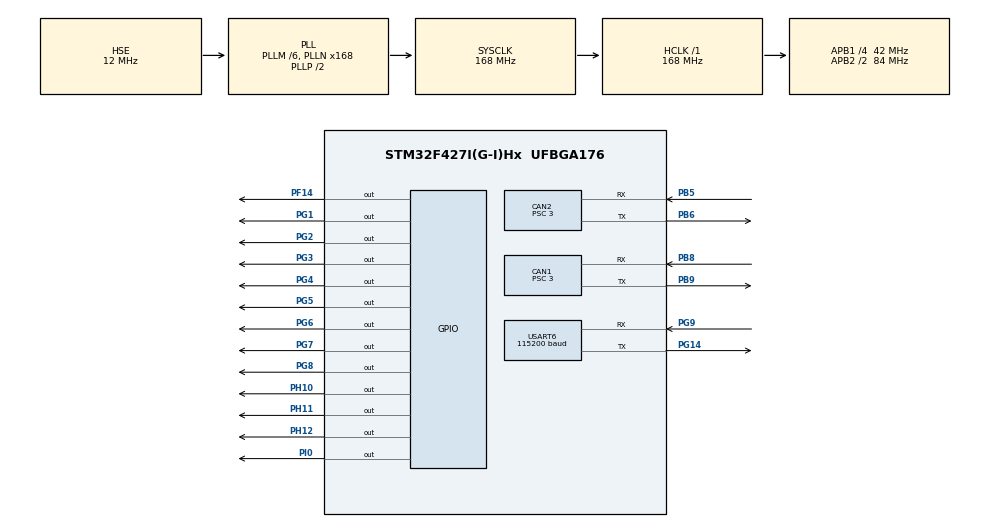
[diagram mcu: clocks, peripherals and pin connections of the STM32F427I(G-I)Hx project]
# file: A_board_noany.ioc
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CAN1.ABOM=DISABLE
CAN1.AWUM=ENABLE
CAN1.BS1=CAN_BS1_9TQ
CAN1.BS2=CAN_BS2_4TQ
CAN1.CalculateBaudRate=1000000
CAN1.CalculateTimeBit=1000
CAN1.CalculateTimeQuantum=71.42857142857143
CAN1.Mode=CAN_MODE_LOOPBACK
CAN1.NART=ENABLE
CAN1.Prescaler=3
CAN1.SJW=CAN_SJW_2TQ
CAN2.BS1=CAN_BS1_9TQ
CAN2.BS2=CAN_BS2_4TQ
CAN2.CalculateBaudRate=1000000
CAN2.CalculateTimeBit=1000
CAN2.CalculateTimeQuantum=71.42857142857143
CAN2.Prescaler=3
CAN2.SJW=CAN_SJW_2TQ
Dma.Request0=USART6_RX
Dma.USART6_RX.0.Direction=DMA_PERIPH_TO_MEMORY
Dma.USART6_RX.0.FIFOMode=DMA_FIFOMODE_DISABLE
Dma.USART6_RX.0.Instance=DMA2_Stream1
Dma.USART6_RX.0.MemDataAlignment=DMA_MDATAALIGN_BYTE
Dma.USART6_RX.0.MemInc=DMA_MINC_ENABLE
Dma.USART6_RX.0.Mode=DMA_NORMAL
Dma.USART6_RX.0.PeriphDataAlignment=DMA_PDATAALIGN_BYTE
Dma.USART6_RX.0.PeriphInc=DMA_PINC_DISABLE
Dma.USART6_RX.0.Priority=DMA_PRIORITY_LOW
Mcu.Family=STM32F4
Mcu.Name=STM32F427I(G-I)Hx
Mcu.Package=UFBGA176
NVIC.CAN1_RX0_IRQn=true\:0\:0\:false\:false\:true\:true\:true\:true
NVIC.CAN1_RX1_IRQn=true\:0\:0\:false\:false\:true\:true\:true\:true
NVIC.DMA2_Stream1_IRQn=true\:0\:0\:false\:false\:true\:false\:true\:true
NVIC.PriorityGroup=NVIC_PRIORITYGROUP_4
PB5.Mode=CAN_Activate
PB5.Signal=CAN2_RX
PB6.Mode=CAN_Activate
PB6.Signal=CAN2_TX
PB8.Mode=CAN_Activate
PB8.Signal=CAN1_RX
PB9.Mode=CAN_Activate
PB9.Signal=CAN1_TX
PF14.Signal=GPIO_Output
PG1.Signal=GPIO_Output
PG14.Mode=Asynchronous
PG14.Signal=USART6_TX
PG2.Signal=GPIO_Output
PG3.Signal=GPIO_Output
PG4.Signal=GPIO_Output
PG5.Signal=GPIO_Output
PG6.Signal=GPIO_Output
PG7.Signal=GPIO_Output
PG8.Signal=GPIO_Output
PG9.Mode=Asynchronous
PG9.Signal=USART6_RX
PH0/OSC_IN.Mode=HSE-External-Oscillator
PH0/OSC_IN.Signal=RCC_OSC_IN
PH1/OSC_OUT.Mode=HSE-External-Oscillator
PH1/OSC_OUT.Signal=RCC_OSC_OUT
PH10.Signal=GPIO_Output
PH11.Signal=GPIO_Output
PH12.PinState=GPIO_PIN_SET
PH12.Signal=GPIO_Output
PI0.PinState=GPIO_PIN_SET
PI0.Signal=GPIO_Output
ProjectManager.HeapSize=0x200
ProjectManager.StackSize=0x400
ProjectManager.TargetToolchain=CMake
RCC.48MHZClocksFreq_Value=84000000
RCC.AHBFreq_Value=168000000
RCC.APB1CLKDivider=RCC_HCLK_DIV4
RCC.APB1Freq_Value=42000000
RCC.APB1TimFreq_Value=84000000
RCC.APB2CLKDivider=RCC_HCLK_DIV2
RCC.APB2Freq_Value=84000000
RCC.APB2TimFreq_Value=168000000
RCC.CortexFreq_Value=168000000
RCC.HCLKFreq_Value=168000000
RCC.HSE_VALUE=12000000
RCC.HSI_VALUE=16000000
RCC.LSE_VALUE=32768
RCC.PLLM=6
RCC.PLLN=168
RCC.PLLSourceVirtual=RCC_PLLSOURCE_HSE
RCC.SYSCLKFreq_VALUE=168000000
RCC.SYSCLKSource=RCC_SYSCLKSOURCE_PLLCLK
RCC.VCOOutputFreq_Value=336000000
USART6.BaudRate=115200
USART6.VirtualMode=VM_ASYNC
board=custom

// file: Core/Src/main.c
/* USER CODE BEGIN Header */
/**
  ******************************************************************************
  * @file           : main.c
  * @brief          : Main program body
  ******************************************************************************
  * @attention
  *
  * Copyright (c) 2026 STMicroelectronics.
  * All rights reserved.
  *
  * This software is licensed under terms that can be found in the LICENSE file
  * in the root directory of this software component.
  * If no LICENSE file comes with this software, it is provided AS-IS.
  *
  ******************************************************************************
  */
/* USER CODE END Header */
#include "main.h"
#include "can.h"
#include "dma.h"
#include "usart.h"
#include "gpio.h"

void SystemClock_Config(void);

/* USER CODE BEGIN 0 */

void CAN_DebugDump(void)
{
	u6_printf("\r\n===== CAN DEBUG DUMP =====\r\n");

	// 1. HAL状态
	u6_printf("State: %d\r\n", hcan1.State);
	u6_printf("Error: 0x%08lX\r\n", HAL_CAN_GetError(&hcan1));

	// 2. CAN关键寄存器
	u6_printf("MSR   : 0x%08lX\r\n", hcan1.Instance->MSR);
	u6_printf("ESR   : 0x%08lX\r\n", hcan1.Instance->ESR);
	u6_printf("BTR   : 0x%08lX\r\n", hcan1.Instance->BTR);

	// 3. TX状态
	u6_printf("TSR   : 0x%08lX\r\n", hcan1.Instance->TSR);

	// 4. FIFO状态
	u6_printf("RF0R  : 0x%08lX\r\n", hcan1.Instance->RF0R);
	u6_printf("RF1R  : 0x%08lX\r\n", hcan1.Instance->RF1R);

	// 5. 错误计数（非常关键）
	u6_printf("ESR_LEC: %lu\r\n", (hcan1.Instance->ESR & 0x70) >> 4);

	u6_printf("==========================\r\n\r\n");
}

/* USER CODE END 0 */

int main(void)
{

  /* MCU Configuration--------------------------------------------------------*/

  /* Reset of all peripherals, Initializes the Flash interface and the Systick. */
  HAL_Init();

  /* USER CODE BEGIN Init */

	U6_PtrInit();

	const uint8_t txtx[]="nihaoya!";

	uint32_t tt=0;

  /* USER CODE END Init */

  /* Configure the system clock */
  SystemClock_Config();

  /* Initialize all configured peripherals */
  MX_GPIO_Init();
  MX_DMA_Init();
  MX_USART6_UART_Init();
  MX_CAN1_Init();
  MX_CAN2_Init();
  /* USER CODE BEGIN 2 */

	CAN_Filter_FIFO0_AllPass_Init();   // 先配置滤波器
	HAL_CAN_Start(&hcan1);       // 再启动CAN
	u6_printf("MSR after start = 0x%08lX\r\n", hcan1.Instance->MSR);
	HAL_CAN_ActivateNotification(&hcan1, CAN_IT_RX_FIFO0_MSG_PENDING);

	HAL_UART_Receive_DMA(&huart6,U1_RxBuff,256);
	__HAL_UART_ENABLE_IT(&huart6, UART_IT_IDLE);

	//===========================================
	//变量声明
	uint16_t current6020[4]={2000,2000,2000,2000};

  /* USER CODE END 2 */

  /* Infinite loop */
  while (1)
  {

    /* USER CODE BEGIN 3 */

  	CAN_DebugDump();

  	if (HAL_CAN_GetError(&hcan1) & HAL_CAN_ERROR_BOF)
  	{
  		HAL_CAN_Stop(&hcan1);
  		HAL_CAN_Init(&hcan1);
  		HAL_CAN_Start(&hcan1);
  	}

	HAL_GPIO_TogglePin(GPIOG, GPIO_PIN_1);
  	HAL_Delay(50);
  	HAL_GPIO_TogglePin(GPIOG, GPIO_PIN_2);
  	HAL_Delay(50);
  	HAL_GPIO_TogglePin(GPIOG, GPIO_PIN_3);
  	HAL_Delay(50);
  	HAL_GPIO_TogglePin(GPIOG, GPIO_PIN_4);
  	HAL_Delay(50);
  	HAL_GPIO_TogglePin(GPIOG, GPIO_PIN_5);
  	HAL_Delay(50);
  	HAL_GPIO_TogglePin(GPIOG, GPIO_PIN_6);
  	HAL_Delay(50);
  	HAL_GPIO_TogglePin(GPIOG, GPIO_PIN_7);
  	HAL_Delay(50);
  	HAL_GPIO_TogglePin(GPIOG, GPIO_PIN_8);
  	HAL_Delay(50);

  	u6_printf("time: %d\n",tt++);

  	u6_printf("$$$\n");
  	//HAL_UART_Transmit(&huart1,U1_RxBuff,256,1000);
  	u6_printf("$$$\n\n");

  	CAN_TxData(txtx,8);
  	//	CAN_RxData(U1_RxBuff);

	uint8_t AAA[8];
	CAN_GM6020_Current(current6020);
  	CAN_RxData(AAA);

  	u6_printf("HAL_CAN_IsActive:%d\n",hcan1.State);

  	u6_printf("CAN_STATE=%d\r\n", hcan1.State);
  	u6_printf("CAN_ERROR=0x%08lX\r\n", HAL_CAN_GetError(&hcan1));
	HAL_Delay(5000);

  }
  /* USER CODE END 3 */
}

void SystemClock_Config(void)
{
  RCC_OscInitTypeDef RCC_OscInitStruct = {0};
  RCC_ClkInitTypeDef RCC_ClkInitStruct = {0};

  /** Configure the main internal regulator output voltage
  */
  __HAL_RCC_PWR_CLK_ENABLE();
  __HAL_PWR_VOLTAGESCALING_CONFIG(PWR_REGULATOR_VOLTAGE_SCALE1);

  /** Initializes the RCC Oscillators according to the specified parameters
  * in the RCC_OscInitTypeDef structure.
  */
  RCC_OscInitStruct.OscillatorType = RCC_OSCILLATORTYPE_HSE;
  RCC_OscInitStruct.HSEState = RCC_HSE_ON;
  RCC_OscInitStruct.PLL.PLLState = RCC_PLL_ON;
  RCC_OscInitStruct.PLL.PLLSource = RCC_PLLSOURCE_HSE;
  RCC_OscInitStruct.PLL.PLLM = 6;
  RCC_OscInitStruct.PLL.PLLN = 168;
  RCC_OscInitStruct.PLL.PLLP = RCC_PLLP_DIV2;
  RCC_OscInitStruct.PLL.PLLQ = 4;
  if (HAL_RCC_OscConfig(&RCC_OscInitStruct) != HAL_OK)
  {
    Error_Handler();
  }

  /** Initializes the CPU, AHB and APB buses clocks
  */
  RCC_ClkInitStruct.ClockType = RCC_CLOCKTYPE_HCLK|RCC_CLOCKTYPE_SYSCLK
                              |RCC_CLOCKTYPE_PCLK1|RCC_CLOCKTYPE_PCLK2;
  RCC_ClkInitStruct.SYSCLKSource = RCC_SYSCLKSOURCE_PLLCLK;
  RCC_ClkInitStruct.AHBCLKDivider = RCC_SYSCLK_DIV1;
  RCC_ClkInitStruct.APB1CLKDivider = RCC_HCLK_DIV4;
  RCC_ClkInitStruct.APB2CLKDivider = RCC_HCLK_DIV2;

  if (HAL_RCC_ClockConfig(&RCC_ClkInitStruct, FLASH_LATENCY_5) != HAL_OK)
  {
    Error_Handler();
  }
}

void Error_Handler(void)
{
  __disable_irq();
  while (1)
  {
  }
}
